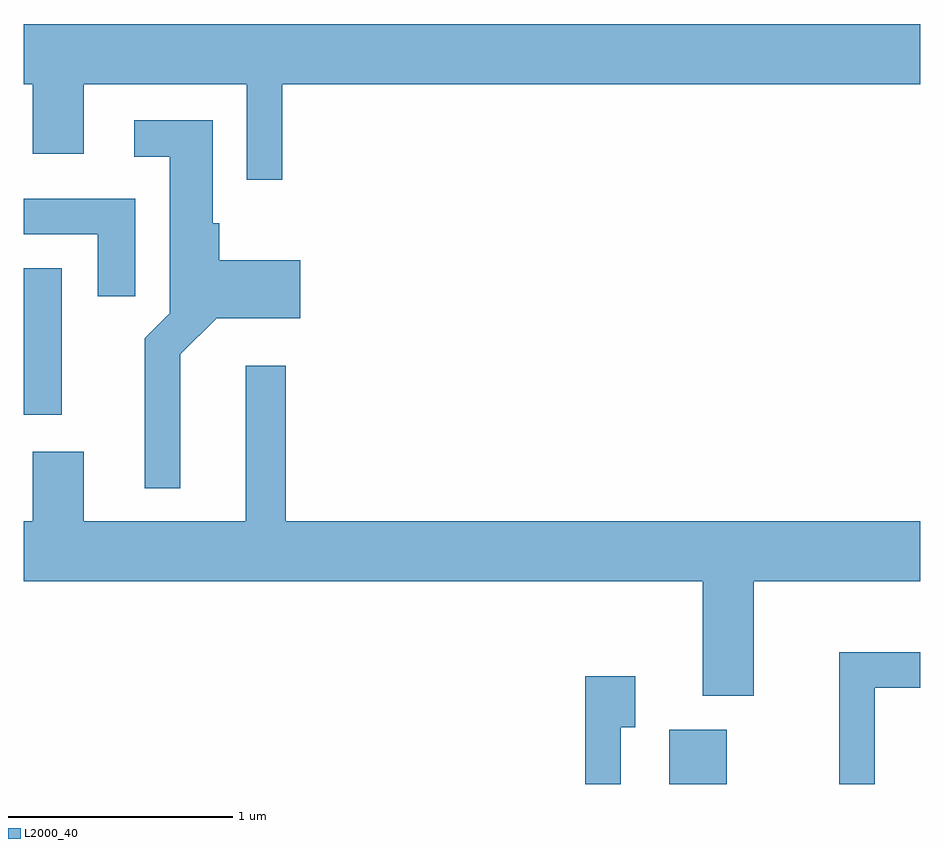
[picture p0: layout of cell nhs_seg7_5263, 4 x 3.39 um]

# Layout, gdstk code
import gdstk
lib = gdstk.Library(unit=1e-6, precision=1e-09)
def R(c, l, rs):  # rectangles x0, y0, x1, y1
    for r in rs: c.add(gdstk.rectangle(r[:2], r[2:], *l))
def P(c, l, *ps):  # polygons
    for p in ps: c.add(gdstk.Polygon(p, *l))
L2000_40 = (2000, 40)

nhs_seg7_5263 = lib.new_cell('nhs_seg7_5263')
R(nhs_seg7_5263, L2000_40, [(348.491,1762.252,348.749,1762.494), (345.611,1763.901,345.779,1764.554)])
P(nhs_seg7_5263, L2000_40, [(346.764,1765.376),(349.611,1765.376),(349.611,1765.644),(345.611,1765.644),(345.611,1765.376),(345.651,1765.376),(345.651,1765.066),(345.879,1765.066),(345.879,1765.376),(346.606,1765.376),(346.606,1764.948),(346.764,1764.948)],
  [(346.309,1764.169),(346.472,1764.331),(346.844,1764.331),(346.844,1764.589),(346.484,1764.589),(346.484,1764.754),(346.454,1764.754),(346.454,1765.214),(346.103,1765.214),(346.103,1765.051),(346.261,1765.051),(346.261,1764.352),(346.151,1764.242),(346.151,1763.573),(346.309,1763.573)],
  [(346.109,1764.864),(345.611,1764.864),(345.611,1764.706),(345.941,1764.706),(345.941,1764.428),(346.109,1764.428)],
  [(348.869,1763.156),(349.611,1763.156),(349.611,1763.424),(346.779,1763.424),(346.779,1764.119),(346.601,1764.119),(346.601,1763.424),(345.879,1763.424),(345.879,1763.734),(345.651,1763.734),(345.651,1763.424),(345.611,1763.424),(345.611,1763.156),(348.641,1763.156),(348.641,1762.646),(348.869,1762.646)],
  [(349.409,1762.681),(349.611,1762.681),(349.611,1762.839),(349.251,1762.839),(349.251,1762.252),(349.409,1762.252)],
  [(348.274,1762.506),(348.339,1762.506),(348.339,1762.734),(348.116,1762.734),(348.116,1762.252),(348.274,1762.252)])

lib.write_gds('nhs_seg7_5263.gds')
